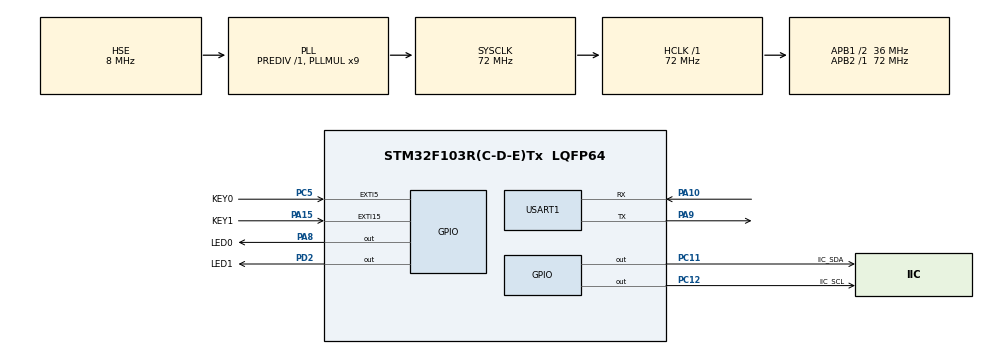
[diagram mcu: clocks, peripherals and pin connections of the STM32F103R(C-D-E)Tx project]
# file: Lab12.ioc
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Mcu.Family=STM32F1
Mcu.Name=STM32F103R(C-D-E)Tx
Mcu.Package=LQFP64
NVIC.PriorityGroup=NVIC_PRIORITYGROUP_2
NVIC.USART1_IRQn=true\:1\:0\:true\:false\:true\:true\:true\:true
PA10.Mode=Asynchronous
PA10.Signal=USART1_RX
PA13.Mode=Serial_Wire
PA13.Signal=SYS_JTMS-SWDIO
PA14.Mode=Serial_Wire
PA14.Signal=SYS_JTCK-SWCLK
PA15.GPIO_Label=KEY1
PA15.GPIO_ModeDefaultEXTI=GPIO_MODE_IT_FALLING
PA15.GPIO_PuPd=GPIO_PULLUP
PA15.Signal=GPXTI15
PA8.GPIO_Label=LED0
PA8.PinState=GPIO_PIN_SET
PA8.Signal=GPIO_Output
PA9.Mode=Asynchronous
PA9.Signal=USART1_TX
PC11.GPIO_Label=IIC_SDA
PC11.GPIO_ModeDefaultOutputPP=GPIO_MODE_OUTPUT_OD
PC11.GPIO_PuPd=GPIO_NOPULL
PC11.Signal=GPIO_Output
PC12.GPIO_Label=IIC_SCL
PC12.Signal=GPIO_Output
PC5.GPIO_Label=KEY0
PC5.GPIO_ModeDefaultEXTI=GPIO_MODE_IT_FALLING
PC5.GPIO_PuPd=GPIO_PULLUP
PC5.Signal=GPXTI5
PD0-OSC_IN.Mode=HSE-External-Oscillator
PD0-OSC_IN.Signal=RCC_OSC_IN
PD1-OSC_OUT.Mode=HSE-External-Oscillator
PD1-OSC_OUT.Signal=RCC_OSC_OUT
PD2.GPIO_Label=LED1
PD2.PinState=GPIO_PIN_SET
PD2.Signal=GPIO_Output
ProjectManager.HeapSize=0x200
ProjectManager.StackSize=0x400
ProjectManager.TargetToolchain=STM32CubeIDE
RCC.AHBFreq_Value=72000000
RCC.APB1CLKDivider=RCC_HCLK_DIV2
RCC.APB1Freq_Value=36000000
RCC.APB1TimFreq_Value=72000000
RCC.APB2Freq_Value=72000000
RCC.APB2TimFreq_Value=72000000
RCC.HCLKFreq_Value=72000000
RCC.PLLMUL=RCC_PLL_MUL9
RCC.PLLSourceVirtual=RCC_PLLSOURCE_HSE
RCC.SYSCLKFreq_VALUE=72000000
RCC.SYSCLKSource=RCC_SYSCLKSOURCE_PLLCLK
RCC.USBFreq_Value=72000000
USART1.VirtualMode=VM_ASYNC
board=custom

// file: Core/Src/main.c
/* USER CODE BEGIN Header */
/**
  ******************************************************************************
  * @file           : main.c
  * @brief          : Main program body
  ******************************************************************************
  * @attention
  *
  * <h2><center>&copy; Copyright (c) 2023 STMicroelectronics.
  * All rights reserved.</center></h2>
  *
  * This software component is licensed by ST under BSD 3-Clause license,
  * the "License"; You may not use this file except in compliance with the
  * License. You may obtain a copy of the License at:
  *                        opensource.org/licenses/BSD-3-Clause
  *
  ******************************************************************************
  */
/* USER CODE END Header */
#include "main.h"
#include "usart.h"
#include "gpio.h"

/* USER CODE BEGIN Includes */
#include "lcd.h"
#include "myiic.h"
#include "24cxx.h"
/* USER CODE END Includes */

/* USER CODE BEGIN PV */
extern UART_HandleTypeDef huart1;
extern uint8_t rxBuffer[20];
extern int uLength;
extern unsigned char uRx_Data[1024];
//extern int uLength;
/* USER CODE END PV */

void SystemClock_Config(void);

/* USER CODE BEGIN 0 */

//要写入到24c02的字符串数组
const uint8_t TEXT_Buffer[] = {"CS301 IIC TEST DEMO"};
#define SIZE strlen(uRx_Data)

/* USER CODE END 0 */

int main(void)
{

  /* MCU Configuration--------------------------------------------------------*/

  /* Reset of all peripherals, Initializes the Flash interface and the Systick. */
  HAL_Init();

  /* Configure the system clock */
  SystemClock_Config();

  /* Initialize all configured peripherals */
  MX_GPIO_Init();
  MX_USART1_UART_Init();
  /* USER CODE BEGIN 2 */
    HAL_UART_Receive_IT(&huart1, (uint8_t *) rxBuffer, 1);

    uint16_t i = 0;
    uint8_t datatemp[SIZE];
    LCD_Init();
    AT24CXX_Init();            //IIC初始�??

    POINT_COLOR = RED;//设置字体为红�???
    LCD_ShowString(40, 50, 200, 16, 16, "CS301");
    LCD_ShowString(40, 70, 200, 16, 16, "IIC TEST");
    LCD_ShowString(40, 90, 200, 16, 16, "KEY1:Write  KEY0:Read");    //显示提示信息
  /* USER CODE END 2 */

  /* Infinite loop */
  /* USER CODE BEGIN WHILE */
    while (AT24CXX_Check()) {
        LCD_ShowString(40, 120, 200, 16, 16, "24C02 Check Failed!");
        HAL_Delay(500);
        LCD_ShowString(40, 120, 200, 16, 16, "Please Check!      ");
        HAL_Delay(500);
        HAL_GPIO_TogglePin(LED0_GPIO_Port, LED0_Pin);//LED0闪烁
    }

    LCD_ShowString(40, 120, 200, 16, 16, "24C02 Ready!");
    POINT_COLOR = BLUE;//设置字体为蓝�??

    while (1) {
    /* USER CODE END WHILE */

    /* USER CODE BEGIN 3 */

        if (HAL_GPIO_ReadPin(KEY1_GPIO_Port, KEY1_Pin) == GPIO_PIN_RESET)//KEY1按下,写入24C02
        {
            LCD_Fill(0, 170, 239, 319, WHITE);//清除半屏
            LCD_ShowString(40, 170, 200, 16, 16, "Start Writing 24C02....");
            AT24CXX_Write(0, (uint8_t *) uRx_Data, SIZE);
            LCD_Fill(0, 170, 239, 319, WHITE);
            LCD_ShowString(40, 170, 200, 16, 16, "24C02 Write Finished!");//提示传�?�完�???
        }
        if (HAL_GPIO_ReadPin(KEY0_GPIO_Port, KEY0_Pin) == GPIO_PIN_RESET)//KEY0按下,读取字符串并显示
        {
            LCD_Fill(0, 170, 239, 319, WHITE);
            LCD_ShowString(40, 170, 200, 16, 16, "Start Reading 24C02.... ");
            AT24CXX_Read(0, datatemp, SIZE);
            LCD_Fill(0, 170, 239, 319, WHITE);
            LCD_ShowString(40, 170, 200, 16, 16, "The Data Read Is:  ");//提示传�?�完�???
            LCD_ShowString(40, 190, 200, 16, 16, datatemp);//显示读到的字符串
            HAL_UART_Transmit(&huart1, (uint8_t *) "The data read is:\n", strlen("The data read is:\n"), HAL_MAX_DELAY);
            HAL_UART_Transmit(&huart1, (uint8_t *) uRx_Data, SIZE, HAL_MAX_DELAY);
        }
        i++;
        HAL_Delay(10);
        if (i == 20) {
            HAL_GPIO_TogglePin(LED0_GPIO_Port, LED0_Pin);//提示系统正在运行
            i = 0;
        }
    }
  /* USER CODE END 3 */
}

void SystemClock_Config(void)
{
  RCC_OscInitTypeDef RCC_OscInitStruct = {0};
  RCC_ClkInitTypeDef RCC_ClkInitStruct = {0};

  /** Initializes the RCC Oscillators according to the specified parameters
  * in the RCC_OscInitTypeDef structure.
  */
  RCC_OscInitStruct.OscillatorType = RCC_OSCILLATORTYPE_HSE;
  RCC_OscInitStruct.HSEState = RCC_HSE_ON;
  RCC_OscInitStruct.HSEPredivValue = RCC_HSE_PREDIV_DIV1;
  RCC_OscInitStruct.HSIState = RCC_HSI_ON;
  RCC_OscInitStruct.PLL.PLLState = RCC_PLL_ON;
  RCC_OscInitStruct.PLL.PLLSource = RCC_PLLSOURCE_HSE;
  RCC_OscInitStruct.PLL.PLLMUL = RCC_PLL_MUL9;
  if (HAL_RCC_OscConfig(&RCC_OscInitStruct) != HAL_OK)
  {
    Error_Handler();
  }

  /** Initializes the CPU, AHB and APB buses clocks
  */
  RCC_ClkInitStruct.ClockType = RCC_CLOCKTYPE_HCLK|RCC_CLOCKTYPE_SYSCLK
                              |RCC_CLOCKTYPE_PCLK1|RCC_CLOCKTYPE_PCLK2;
  RCC_ClkInitStruct.SYSCLKSource = RCC_SYSCLKSOURCE_PLLCLK;
  RCC_ClkInitStruct.AHBCLKDivider = RCC_SYSCLK_DIV1;
  RCC_ClkInitStruct.APB1CLKDivider = RCC_HCLK_DIV2;
  RCC_ClkInitStruct.APB2CLKDivider = RCC_HCLK_DIV1;

  if (HAL_RCC_ClockConfig(&RCC_ClkInitStruct, FLASH_LATENCY_2) != HAL_OK)
  {
    Error_Handler();
  }
}

void Error_Handler(void)
{
    __disable_irq();
    while (1) {
    }
}
